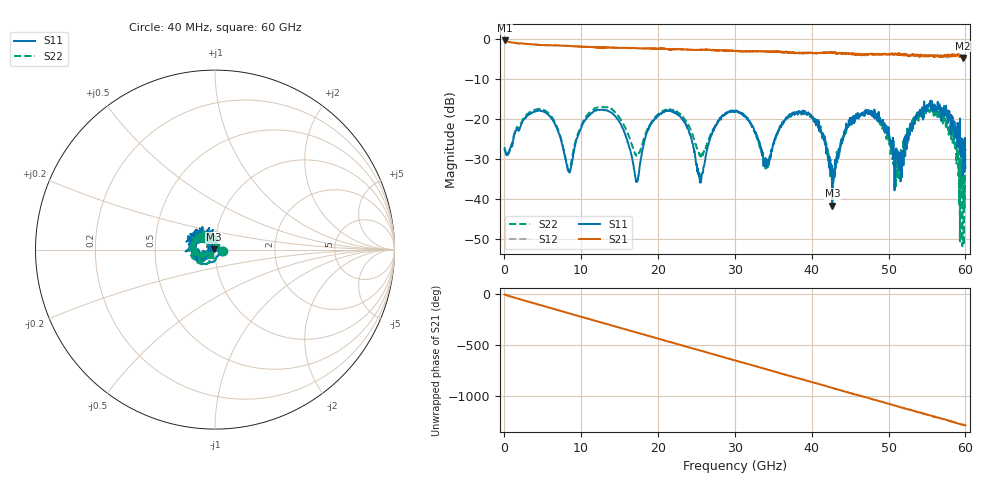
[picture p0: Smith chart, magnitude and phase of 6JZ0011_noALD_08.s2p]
! File created by 'SoftPlot +Plus+ Measurement Management Software'
! SoftPlot +Plus+ Measurement Management Software
! Start 40.000000 MHz  Stop 60.000000 GHz  Points 1601
# MHZ S RI R 50
! S-Parameter data, F S11 S21 S12 S22
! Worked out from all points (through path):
!   1601 points, 40 MHz to 60 GHz, reference 50 ohm
!   highest |S21| = -0.42 dB at 40 MHz (marker M1); lowest = -4.8 dB at 59.66 GHz (marker M2)
!   group delay of S21, straight-line fit = 59.6 ps
!   lowest |S11| = -41.7 dB at 42.69 GHz (marker M3), VSWR 1.02, Z = 49.2 + j0.167 ohm
!   |S11| at or under -10 dB: start of sweep to end of sweep
!   |S22| runs from -51.9 to -17.0 dB; largest |S21 - S12| = 0.058
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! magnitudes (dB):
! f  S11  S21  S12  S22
! 40 MHz  -27.7  -0.4  -0.4  -27.1
! 4.799 GHz  -18.0  -1.6  -1.6  -17.6
! 8.472 GHz  -33.4  -1.8  -1.8  -32.6
! 10.05 GHz  -22.0  -2.0  -2.0  -21.6
! 14.21 GHz  -18.9  -2.3  -2.2  -18.0
! 17.24 GHz  -35.6  -2.3  -2.3  -29.2
! 20.05 GHz  -19.2  -2.5  -2.4  -18.8
! 23.35 GHz  -20.5  -2.7  -2.6  -19.9
! 25.52 GHz  -35.0  -2.7  -2.7  -29.2
! 27.51 GHz  -21.7  -2.9  -2.8  -21.6
! 30.02 GHz  -18.1  -3.0  -3.0  -18.0
! 34.14 GHz  -31.1  -3.2  -3.1  -32.4
! 36.84 GHz  -19.5  -3.4  -3.4  -19.6
! 40.03 GHz  -19.7  -3.5  -3.5  -19.5
! 42.69 GHz  -41.7  -3.5  -3.4  -32.3
! 45.83 GHz  -19.5  -3.9  -3.8  -19.2
! 50.03 GHz  -24.3  -3.8  -3.8  -25.3
! 51.08 GHz  -28.2  -3.8  -3.8  -32.7
! 53.52 GHz  -19.5  -4.1  -4.1  -19.8
! 56.66 GHz  -18.2  -4.5  -4.2  -19.6
! 59.66 GHz  -34.1  -4.8  -4.2  -39.2
! 60 GHz  -32.3  -4.8  -4.1  -27.5
